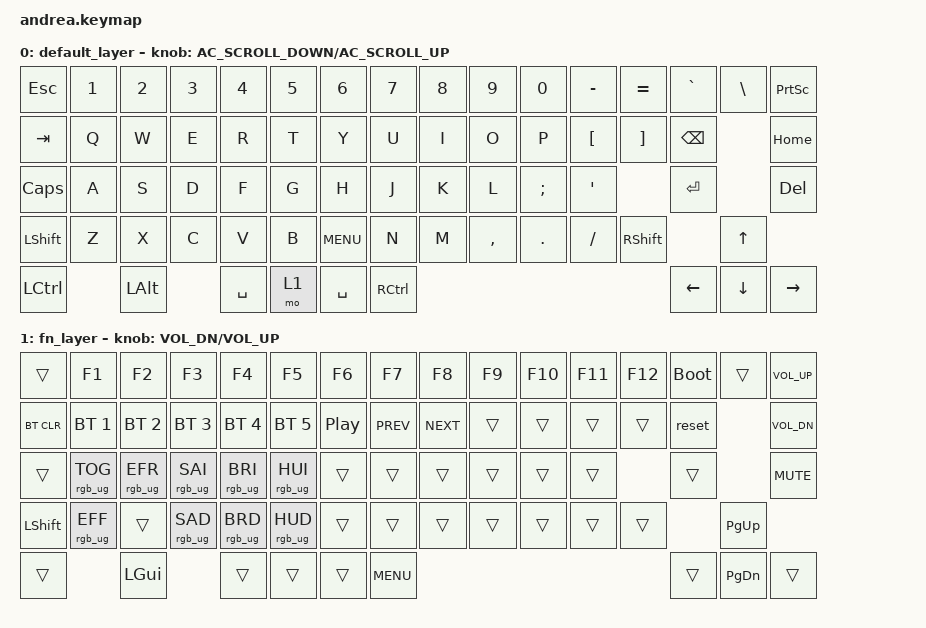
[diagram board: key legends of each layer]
#include <behaviors.dtsi>
#include <dt-bindings/zmk/keys.h>
#include <dt-bindings/zmk/bt.h>
#include <dt-bindings/zmk/outputs.h>
#include <dt-bindings/zmk/rgb.h>
#include <dt-bindings/zmk/ext_power.h>

#define FN 1

/ {
	keymap {
		compatible = "zmk,keymap";

		default_layer {
// -----------------------------------------------------------------------------------------
//   | ESC   | 1     | 2     | 3     | 4     | 5     | 6     | 7     | 8     | 9     | 0     | -     | =     | BSPC  | BSPC  | PRSC  |
//   | TAB   | Q     | W     | E     | R     | T     | Y     | U     | I     | O     | P     | [     | ]     | \     |         PGUP  |
// |MT(SPACE)| A     | S     | D     | F     | G     | H     | J     | K     | L     | ;     | '     |         ENTER |         PGDN  |
//   | SHIFT | Z     | X     | C     | V     | B     | B     | N     | M     | ,     | .     | /     | SHIFT |         UP    |
//   | CTRL  |         ALT   |  LT(SPACE, 1) | BSPC  |   LT(SPACE,1) | ALT   |                                 LEFT  | DOWN  | RIGHT |

			bindings = <
    &kp ESC          &kp NUM_1        &kp NUM_2     &kp NUM_3     &kp NUM_4     &kp NUM_5        &kp NUM_6        &kp NUM_7        &kp NUM_8        &kp NUM_9        &kp NUM_0        &kp MINUS        &kp EQL          &kp GRAVE        &kp BSLH        &kp PSCRN
    &kp TAB          &kp Q            &kp W         &kp E         &kp R         &kp T            &kp Y            &kp U            &kp I            &kp O            &kp P            &kp LBKT         &kp RBKT         &kp BSPC                         &kp HOME
    &kp CAPS         &kp A            &kp S         &kp D         &kp F         &kp G            &kp H            &kp J            &kp K            &kp L            &kp SCLN         &kp QUOT                          &kp ENTER                        &kp DEL
    &kp LSHFT        &kp Z            &kp X         &kp C         &kp V         &kp B            &kp C_MENU       &kp N            &kp M            &kp CMMA         &kp DOT          &kp FSLH         &kp RSHFT                         &kp UP
    &kp LCTRL                         &kp LALT                    &kp SPACE     &mo 1            &kp SPACE        &kp RCTRL                                                                                              &kp LEFT         &kp DOWN        &kp RIGHT
			>;
			
			sensor-bindings = <&inc_dec_kp C_AC_SCROLL_DOWN C_AC_SCROLL_UP>;
			
		};

		fn_layer {
// -----------------------------------------------------------------------------------------
//   | GRAVE | F1    | F2    | F3    | F4    | F5    | F6    | F7    | F8    | F9    | F10   | F11   | F12   | RESET  | TRANS | MUTE  |
//   | TRANS |RGB_TOG| TRANS |RGB_HUI|RGB_HUD| TRANS | PSCR  | SCLK  | PAUSE | TRANS | TRANS | TRANS | TRANS | RESET  |         NEXT T|
// |MT(SPACE)|RGB_EFF|RGB_EFR|RGB_SAI|RGB_SAD| TRANS | INS   | HOME  | PG_UP | TRANS | TRANS | TRANS |         TRANS  |         PREV T|
//   | SHIFT | TRANS | TRANS |RGB_BRI|RGB_BRD| TRANS | TRANS | DEL   | END   | PG_DN | TRANS | TRANS | TRANS |          PG_UP |
//   | TRANS |         GUI   |         TRANS | TRANS |         TRANS | MENU  |                                 HOME   | PG_DN | END   |

			bindings = <
    &trans           &kp F1           &kp F2           &kp F3          &kp F4          &kp F5            &kp F6           &kp F7           &kp F8           &kp F9           &kp F10          &kp F11          &kp F12          &bootloader      &trans         &kp C_VOL_UP
    &bt BT_CLR       &bt BT_SEL 1     &bt BT_SEL 2     &bt BT_SEL 3    &bt BT_SEL 4    &bt BT_SEL 5      &kp C_PP         &kp C_PREV       &kp C_NEXT       &trans           &trans           &trans           &trans           &reset                          &kp C_VOL_DN
    &trans           &rgb_ug RGB_TOG  &rgb_ug RGB_EFR  &rgb_ug RGB_SAI &rgb_ug RGB_BRI &rgb_ug RGB_HUI   &trans           &trans           &trans           &trans           &trans           &trans                            &trans                          &kp C_MUTE
    &kp LSHFT        &rgb_ug RGB_EFF  &trans           &rgb_ug RGB_SAD &rgb_ug RGB_BRD &rgb_ug RGB_HUD   &trans           &trans           &trans           &trans           &trans           &trans           &trans                            &kp PG_UP
    &trans                            &kp LGUI                         &trans          &trans        &trans           &kp C_MENU                                                                                                  &trans         &kp PG_DN      &trans        
			>;

			sensor-bindings = <&inc_dec_kp C_VOL_DN C_VOL_UP>;

		};

	};
};
